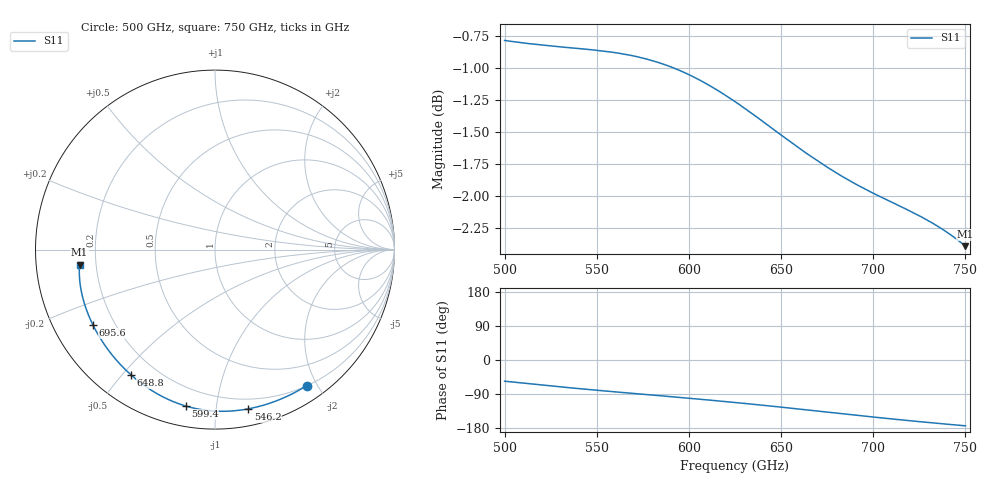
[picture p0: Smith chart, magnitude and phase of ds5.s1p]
# GHz S RI R 50.0
!freq	ReS11	ImS11
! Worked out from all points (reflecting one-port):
!   401 points, 500 GHz to 750 GHz, reference 50 ohm
!   lowest |S11| = -2.4 dB at 750 GHz (marker M1), VSWR 7.31, Z = 6.86 - j2.7 ohm
!   phase of S11 starts at -56 deg and turns -118 deg over the sweep
!   S11 on the Smith chart (normalised r, x): 500 GHz: 0.20, -1.87; 546.2 GHz: 0.12, -1.22; 599.4 GHz: 0.10, -0.82; 648.8 GHz: 0.11, -0.53; 695.6 GHz: 0.12, -0.28; 750 GHz: 0.14, -0.05
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500  0.5117 -0.7572
503.75  0.4863 -0.7728
516.875  0.3938 -0.8211
523.75  0.3444 -0.8418
531.25  0.2908 -0.8607
538.75  0.2378 -0.8757
546.25  0.1858 -0.8871
554.375  0.1305 -0.8956
562.5  0.0761 -0.9001
570  0.0266 -0.9008
578.125  -0.0266 -0.8979
586.25  -0.0793 -0.891
593.75  -0.1277 -0.8811
599.375  -0.1638 -0.8713
612.5  -0.2475 -0.8407
625  -0.3258 -0.8012
636.875  -0.398 -0.7543
648.75  -0.4671 -0.6988
656.25  -0.5084 -0.6597
672.5  -0.5896 -0.5663
687.5  -0.6519 -0.4726
695.625  -0.6799 -0.4203
707.5  -0.713 -0.3436
718.75  -0.7358 -0.2718
726.25  -0.7463 -0.2249
734.375  -0.7534 -0.175
747.5  -0.7555 -0.0976
750  -0.7546 -0.0834
